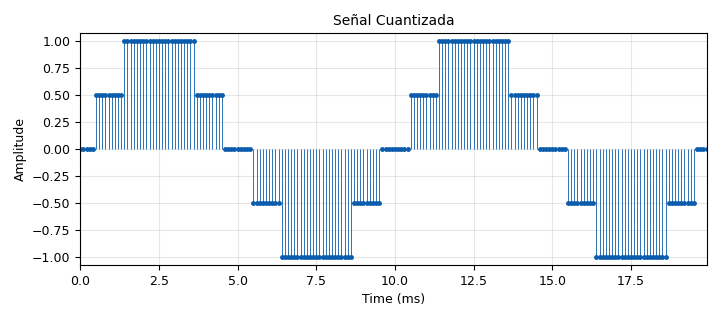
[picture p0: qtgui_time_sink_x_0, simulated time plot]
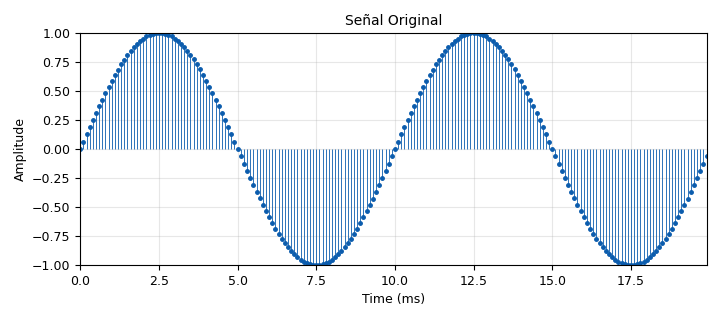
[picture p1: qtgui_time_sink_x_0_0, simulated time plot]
options:
  parameters:
    generate_options: qt_gui
    id: Ejercicio9b
    output_language: python
    title: Not titled yet
  states: {}

blocks:
- name: samp_rate
  id: variable
  parameters:
    value: '10000'
  states: {}
- name: analog_sig_source_x_0
  id: analog_sig_source_x
  parameters:
    amp: '1'
    freq: '100'
    offset: '0'
    phase: '0'
    samp_rate: samp_rate
    type: float
    waveform: analog.GR_SIN_WAVE
  states: {}
- name: analog_sig_source_x_0_0
  id: analog_sig_source_x
  parameters:
    amp: '1'
    freq: '100'
    offset: '0'
    phase: '0'
    samp_rate: samp_rate
    type: float
    waveform: analog.GR_SIN_WAVE
  states: {}
- name: blocks_throttle_0
  id: blocks_throttle
  parameters:
    samples_per_second: samp_rate
    type: float
  states: {}
- name: blocks_throttle_0_0
  id: blocks_throttle
  parameters:
    samples_per_second: samp_rate
    type: float
  states: {}
- name: channels_quantizer_0
  id: channels_quantizer
  parameters:
    bits: '2'
  states: {}
- name: qtgui_time_sink_x_0
  id: qtgui_time_sink_x
  parameters:
    color1: green
    marker1: '1'
    name: Señal Cuantizada
    size: '200'
    srate: samp_rate
    stemplot: 'True'
    type: float
  states: {}
- name: qtgui_time_sink_x_0_0
  id: qtgui_time_sink_x
  parameters:
    marker1: '0'
    name: Señal Original
    size: '200'
    srate: samp_rate
    stemplot: 'True'
    type: float
  states: {}

connections:
- [analog_sig_source_x_0, '0', blocks_throttle_0, '0']
- [analog_sig_source_x_0_0, '0', blocks_throttle_0_0, '0']
- [blocks_throttle_0, '0', channels_quantizer_0, '0']
- [blocks_throttle_0_0, '0', qtgui_time_sink_x_0_0, '0']
- [channels_quantizer_0, '0', qtgui_time_sink_x_0, '0']

metadata:
  file_format: 1
  grc_version: 3.10.12.0
